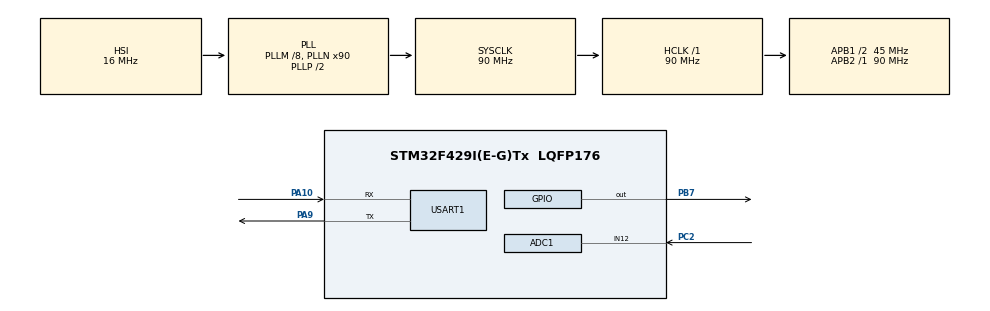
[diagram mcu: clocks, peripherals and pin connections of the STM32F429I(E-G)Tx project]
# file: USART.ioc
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ADC1.Channel-0\#ChannelRegularConversion=ADC_CHANNEL_12
ADC1.DMAContinuousRequests=ENABLE
ADC1.ExternalTrigConv=ADC_EXTERNALTRIGCONV_T3_TRGO
ADC1.NbrOfConversionFlag=1
ADC1.Rank-0\#ChannelRegularConversion=1
ADC1.SamplingTime-0\#ChannelRegularConversion=ADC_SAMPLETIME_3CYCLES
ADC1.master=1
Dma.ADC1.0.Direction=DMA_PERIPH_TO_MEMORY
Dma.ADC1.0.FIFOMode=DMA_FIFOMODE_DISABLE
Dma.ADC1.0.Instance=DMA2_Stream0
Dma.ADC1.0.MemDataAlignment=DMA_MDATAALIGN_HALFWORD
Dma.ADC1.0.MemInc=DMA_MINC_ENABLE
Dma.ADC1.0.Mode=DMA_CIRCULAR
Dma.ADC1.0.PeriphDataAlignment=DMA_PDATAALIGN_HALFWORD
Dma.ADC1.0.PeriphInc=DMA_PINC_DISABLE
Dma.ADC1.0.Priority=DMA_PRIORITY_LOW
Dma.Request0=ADC1
Dma.Request1=USART1_TX
Dma.Request2=USART1_RX
Dma.USART1_RX.2.Direction=DMA_PERIPH_TO_MEMORY
Dma.USART1_RX.2.FIFOMode=DMA_FIFOMODE_DISABLE
Dma.USART1_RX.2.Instance=DMA2_Stream2
Dma.USART1_RX.2.MemDataAlignment=DMA_MDATAALIGN_BYTE
Dma.USART1_RX.2.MemInc=DMA_MINC_ENABLE
Dma.USART1_RX.2.Mode=DMA_NORMAL
Dma.USART1_RX.2.PeriphDataAlignment=DMA_PDATAALIGN_BYTE
Dma.USART1_RX.2.PeriphInc=DMA_PINC_DISABLE
Dma.USART1_RX.2.Priority=DMA_PRIORITY_LOW
Dma.USART1_TX.1.Direction=DMA_MEMORY_TO_PERIPH
Dma.USART1_TX.1.FIFOMode=DMA_FIFOMODE_DISABLE
Dma.USART1_TX.1.Instance=DMA2_Stream7
Dma.USART1_TX.1.MemDataAlignment=DMA_MDATAALIGN_BYTE
Dma.USART1_TX.1.MemInc=DMA_MINC_ENABLE
Dma.USART1_TX.1.Mode=DMA_NORMAL
Dma.USART1_TX.1.PeriphDataAlignment=DMA_PDATAALIGN_BYTE
Dma.USART1_TX.1.PeriphInc=DMA_PINC_DISABLE
Dma.USART1_TX.1.Priority=DMA_PRIORITY_LOW
Mcu.Family=STM32F4
Mcu.Name=STM32F429I(E-G)Tx
Mcu.Package=LQFP176
NVIC.DMA2_Stream0_IRQn=true\:0\:0\:false\:false\:true\:false\:true\:true
NVIC.DMA2_Stream2_IRQn=true\:0\:0\:false\:false\:true\:false\:true\:true
NVIC.DMA2_Stream7_IRQn=true\:0\:0\:false\:false\:true\:false\:true\:true
NVIC.PriorityGroup=NVIC_PRIORITYGROUP_4
NVIC.USART1_IRQn=true\:0\:0\:false\:false\:true\:true\:true\:true
PA10.Mode=Asynchronous
PA10.Signal=USART1_RX
PA9.Mode=Asynchronous
PA9.Signal=USART1_TX
PB7.Signal=GPIO_Output
PC2.Signal=ADCx_IN12
PH0/OSC_IN.Mode=HSE-External-Oscillator
PH0/OSC_IN.Signal=RCC_OSC_IN
PH1/OSC_OUT.Mode=HSE-External-Oscillator
PH1/OSC_OUT.Signal=RCC_OSC_OUT
ProjectManager.HeapSize=0x200
ProjectManager.StackSize=0x400
ProjectManager.TargetToolchain=MDK-ARM V5.32
RCC.48MHZClocksFreq_Value=45000000
RCC.AHBFreq_Value=90000000
RCC.APB1CLKDivider=RCC_HCLK_DIV2
RCC.APB1Freq_Value=45000000
RCC.APB1TimFreq_Value=90000000
RCC.APB2Freq_Value=90000000
RCC.APB2TimFreq_Value=90000000
RCC.CortexFreq_Value=90000000
RCC.HCLKFreq_Value=90000000
RCC.HSE_VALUE=25000000
RCC.HSI_VALUE=16000000
RCC.LSE_VALUE=32768
RCC.PLLM=8
RCC.PLLN=90
RCC.SYSCLKFreq_VALUE=90000000
RCC.SYSCLKSource=RCC_SYSCLKSOURCE_PLLCLK
RCC.VCOOutputFreq_Value=180000000
SH.ADCx_IN12.0=ADC1_IN12,IN12
TIM3.AutoReloadPreload=TIM_AUTORELOAD_PRELOAD_ENABLE
TIM3.Period=900-1
TIM3.Prescaler=100-1
TIM3.TIM_MasterOutputTrigger=TIM_TRGO_UPDATE
USART1.VirtualMode=VM_ASYNC
VP_TIM3_VS_ClockSourceINT.Mode=Internal
board=custom

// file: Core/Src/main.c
/* USER CODE BEGIN Header */
/**
  ******************************************************************************
  * @file           : main.c
  * @brief          : Main program body
  ******************************************************************************
  * @attention
  *
  * Copyright (c) 2024 STMicroelectronics.
  * All rights reserved.
  *
  * This software is licensed under terms that can be found in the LICENSE file
  * in the root directory of this software component.
  * If no LICENSE file comes with this software, it is provided AS-IS.
  *
  ******************************************************************************
  */
/* USER CODE END Header */
#include "main.h"
#include "adc.h"
#include "dma.h"
#include "tim.h"
#include "usart.h"
#include "gpio.h"

/* USER CODE BEGIN Includes */
#include <stdio.h>
#include<string.h>

/* USER CODE END Includes */

/* USER CODE BEGIN PD */
#define LEN 200
__IO uint16_t ADC_DMA_ConvertValue[LEN];
__IO uint32_t TransDone =0;

uint8_t ADC_Buffer[LEN];//

#define KEY1 HAL_GPIO_WritePin(GPIOB,GPIO_PIN_7,1);
#define KEY0 HAL_GPIO_WritePin(GPIOB,GPIO_PIN_7,0);
/* USER CODE END PD */

/* USER CODE BEGIN PV */
uint8_t  receive_data;
double value;
uint8_t c1,c2,c3;
/* USER CODE END PV */

void SystemClock_Config(void);
/* USER CODE BEGIN PFP */
 void HAL_ADC_ConvClptCallback(ADC_HandleTypeDef *hadc){
   if (TransDone==0){
     HAL_ADC_Stop(&hadc1);
     TransDone=1;
   }
 }
double Get_ADC(){
  HAL_ADC_Start(&hadc1);
  HAL_ADC_PollForConversion(&hadc1,1);

	return HAL_ADC_GetValue(&hadc1);
}

/* USER CODE END PFP */

/* USER CODE BEGIN 0 */
 void HAL_UART_RxCpltCallback(UART_HandleTypeDef *huart){
     if(receive_data=='0'){
         KEY0;
     }else if(receive_data=='1'){
         KEY1;
     }
     HAL_UART_Receive_DMA(&huart1,&receive_data,1);
 }
/* USER CODE END 0 */

int main(void)
{

  /* MCU Configuration--------------------------------------------------------*/

  /* Reset of all peripherals, Initializes the Flash interface and the Systick. */
  HAL_Init();

  /* Configure the system clock */
  SystemClock_Config();

  /* Initialize all configured peripherals */
  MX_GPIO_Init();
  MX_DMA_Init();
  MX_USART1_UART_Init();
  MX_ADC1_Init();
  MX_TIM3_Init();
  /* USER CODE BEGIN 2 */
HAL_ADC_Start_DMA(&hadc1,(uint32_t*)ADC_DMA_ConvertValue,LEN);
HAL_TIM_Base_Start(&htim3);

  /* USER CODE END 2 */

  /* Infinite loop */
  /* USER CODE BEGIN WHILE */
  while (1)
  {

     HAL_UART_Receive_DMA(&huart1,&receive_data,1);
    /* USER CODE END WHILE */

    /* USER CODE BEGIN 3 */
    //  if(TransDone==1){
    //    for(uint16_t i=0;i<LEN;i++){
    //      ADC_Buffer[i]=ADC_DMA_ConvertValue[i];
    //      HAL_UART_Transmit_DMA(&huart1,(uint8_t*)ADC_DMA_ConvertValue,LEN);
    //    }
    //      TransDone=0;
    //      HAL_ADC_Start_DMA(&hadc1,(uint32_t*)ADC_DMA_ConvertValue,LEN);
    // }
    value=3.3*Get_ADC()/4096;
    c1=value;
    c2=value*10-c1*10;
    c3=value*100-c2*10-c1*100;
    ADC_Buffer[0]=c1+0x30;
    ADC_Buffer[1]=0x2E;
    ADC_Buffer[2]=c2+0x30;
    ADC_Buffer[3]=c3+0x30;
    HAL_UART_Transmit_DMA(&huart1,ADC_Buffer,sizeof(ADC_Buffer));
    HAL_Delay(200);
  }
  /* USER CODE END 3 */
}

void SystemClock_Config(void)
{
  RCC_OscInitTypeDef RCC_OscInitStruct = {0};
  RCC_ClkInitTypeDef RCC_ClkInitStruct = {0};

  /** Configure the main internal regulator output voltage
  */
  __HAL_RCC_PWR_CLK_ENABLE();
  __HAL_PWR_VOLTAGESCALING_CONFIG(PWR_REGULATOR_VOLTAGE_SCALE3);

  /** Initializes the RCC Oscillators according to the specified parameters
  * in the RCC_OscInitTypeDef structure.
  */
  RCC_OscInitStruct.OscillatorType = RCC_OSCILLATORTYPE_HSI;
  RCC_OscInitStruct.HSIState = RCC_HSI_ON;
  RCC_OscInitStruct.HSICalibrationValue = RCC_HSICALIBRATION_DEFAULT;
  RCC_OscInitStruct.PLL.PLLState = RCC_PLL_ON;
  RCC_OscInitStruct.PLL.PLLSource = RCC_PLLSOURCE_HSI;
  RCC_OscInitStruct.PLL.PLLM = 8;
  RCC_OscInitStruct.PLL.PLLN = 90;
  RCC_OscInitStruct.PLL.PLLP = RCC_PLLP_DIV2;
  RCC_OscInitStruct.PLL.PLLQ = 4;
  if (HAL_RCC_OscConfig(&RCC_OscInitStruct) != HAL_OK)
  {
    Error_Handler();
  }

  /** Activate the Over-Drive mode
  */
  if (HAL_PWREx_EnableOverDrive() != HAL_OK)
  {
    Error_Handler();
  }

  /** Initializes the CPU, AHB and APB buses clocks
  */
  RCC_ClkInitStruct.ClockType = RCC_CLOCKTYPE_HCLK|RCC_CLOCKTYPE_SYSCLK
                              |RCC_CLOCKTYPE_PCLK1|RCC_CLOCKTYPE_PCLK2;
  RCC_ClkInitStruct.SYSCLKSource = RCC_SYSCLKSOURCE_PLLCLK;
  RCC_ClkInitStruct.AHBCLKDivider = RCC_SYSCLK_DIV1;
  RCC_ClkInitStruct.APB1CLKDivider = RCC_HCLK_DIV2;
  RCC_ClkInitStruct.APB2CLKDivider = RCC_HCLK_DIV1;

  if (HAL_RCC_ClockConfig(&RCC_ClkInitStruct, FLASH_LATENCY_2) != HAL_OK)
  {
    Error_Handler();
  }
}

void Error_Handler(void)
{
  __disable_irq();
  while (1)
  {
  }
}
